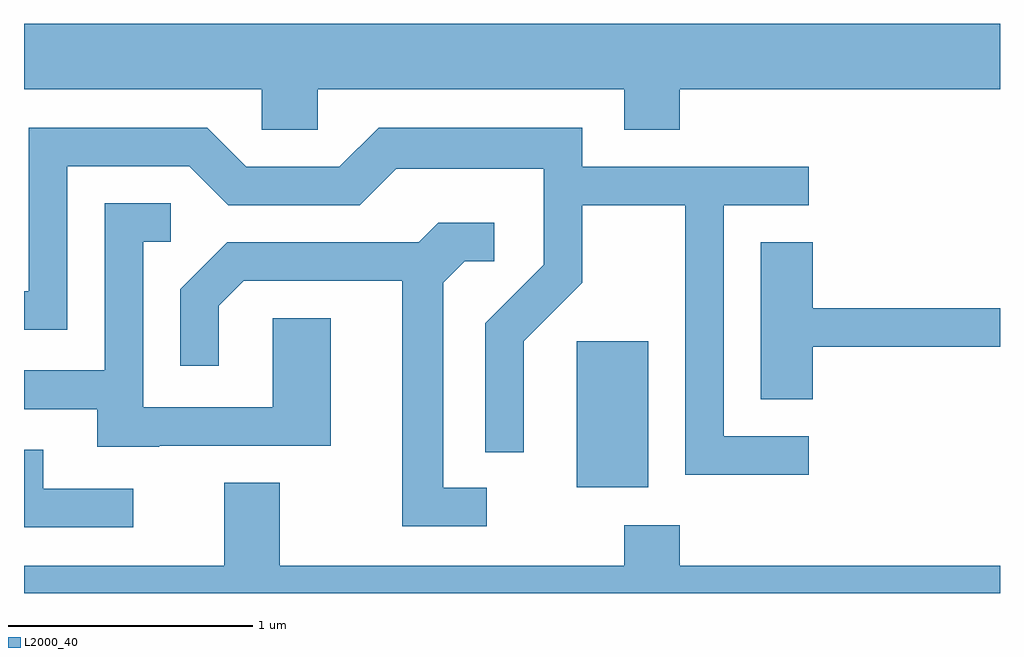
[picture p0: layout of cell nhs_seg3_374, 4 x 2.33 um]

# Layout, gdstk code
import gdstk
lib = gdstk.Library(unit=1e-6, precision=1e-09)
def R(c, l, rs):  # rectangles x0, y0, x1, y1
    for r in rs: c.add(gdstk.rectangle(r[:2], r[2:], *l))
def P(c, l, *ps):  # polygons
    for p in ps: c.add(gdstk.Polygon(p, *l))
L2000_40 = (2000, 40)

nhs_seg3_374 = lib.new_cell('nhs_seg3_374')
R(nhs_seg3_374, L2000_40, [(197.876,1184.326,198.169,1184.924)])
P(nhs_seg3_374, L2000_40, [(196.814,1185.956),(198.071,1185.956),(198.071,1185.791),(198.299,1185.791),(198.299,1185.956),(199.611,1185.956),(199.611,1186.224),(195.611,1186.224),(195.611,1185.956),(196.586,1185.956),(196.586,1185.791),(196.814,1185.791)],
  [(198.828,1184.534),(198.479,1184.534),(198.479,1185.481),(198.828,1185.481),(198.828,1185.639),(197.899,1185.639),(197.899,1185.799),(197.064,1185.799),(196.904,1185.639),(196.522,1185.639),(196.362,1185.799),(195.631,1185.799),(195.631,1185.129),(195.611,1185.129),(195.611,1184.971),(195.789,1184.971),(195.789,1185.641),(196.289,1185.641),(196.449,1185.481),(196.987,1185.481),(197.137,1185.631),(197.741,1185.631),(197.741,1185.237),(197.501,1184.997),(197.501,1184.468),(197.659,1184.468),(197.659,1184.924),(197.899,1185.164),(197.899,1185.481),(198.321,1185.481),(198.321,1184.376),(198.828,1184.376)],
  [(196.165,1184.496),(196.869,1184.496),(196.869,1185.019),(196.631,1185.019),(196.631,1184.654),(196.099,1184.654),(196.099,1185.331),(196.213,1185.331),(196.213,1185.489),(195.941,1185.489),(195.941,1184.804),(195.611,1184.804),(195.611,1184.646),(195.911,1184.646),(195.911,1184.491),(196.165,1184.491)],
  [(197.508,1184.324),(197.329,1184.324),(197.329,1185.164),(197.417,1185.251),(197.538,1185.251),(197.538,1185.409),(197.309,1185.409),(197.229,1185.329),(196.444,1185.329),(196.251,1185.137),(196.251,1184.823),(196.409,1184.823),(196.409,1185.069),(196.512,1185.171),(197.161,1185.171),(197.161,1184.166),(197.508,1184.166)],
  [(198.844,1184.901),(199.611,1184.901),(199.611,1185.059),(198.844,1185.059),(198.844,1185.329),(198.631,1185.329),(198.631,1184.686),(198.844,1184.686)],
  [(196.058,1184.319),(195.689,1184.319),(195.689,1184.479),(195.611,1184.479),(195.611,1184.161),(196.058,1184.161)],
  [(199.611,1184.004),(198.299,1184.004),(198.299,1184.169),(198.071,1184.169),(198.071,1184.004),(196.659,1184.004),(196.659,1184.344),(196.431,1184.344),(196.431,1184.004),(195.611,1184.004),(195.611,1183.892),(199.611,1183.892)])

lib.write_gds('nhs_seg3_374.gds')
